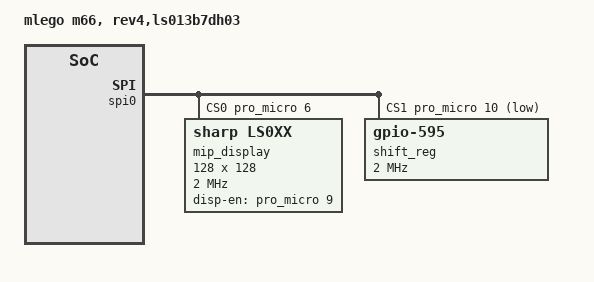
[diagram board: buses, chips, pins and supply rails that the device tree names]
/*
 * Copyright (c) 2022-2024 alin m elena
 * SPDX-License-Identifier: MIT
 */

/ {
   model = "mlego m66, rev4,ls013b7dh03";

   compatible = "mlego", "nice-nano-v2";

   chosen {
     zephyr,display = &mip_display;
   };
};

board_spi: &spi0 {
  status = "okay";
  compatible = "nordic,nrf-spim";
  pinctrl-0 = <&spi0_default>;
  pinctrl-1 = <&spi0_sleep>;
  pinctrl-names = "default", "sleep";

  cs-gpios =  <&pro_micro 6 GPIO_ACTIVE_HIGH>
            , <&pro_micro 10 GPIO_ACTIVE_LOW> ;

  mip_display: ls0xx@0 {
    compatible = "sharp,ls0xx";
    status = "okay";
    spi-max-frequency = <2000000>;
    disp-en-gpios =  <&pro_micro 9 GPIO_ACTIVE_HIGH>;
    reg = <0>;
    width = <128>;
    height = <128>;
  };

  shift_reg: 595@0 {
    compatible = "zmk,gpio-595";
    status = "okay";
    gpio-controller;
    spi-max-frequency = <2000000>;
    #gpio-cells = <2>;
    reg = <1>;
    ngpios = <16>;
  };
};
